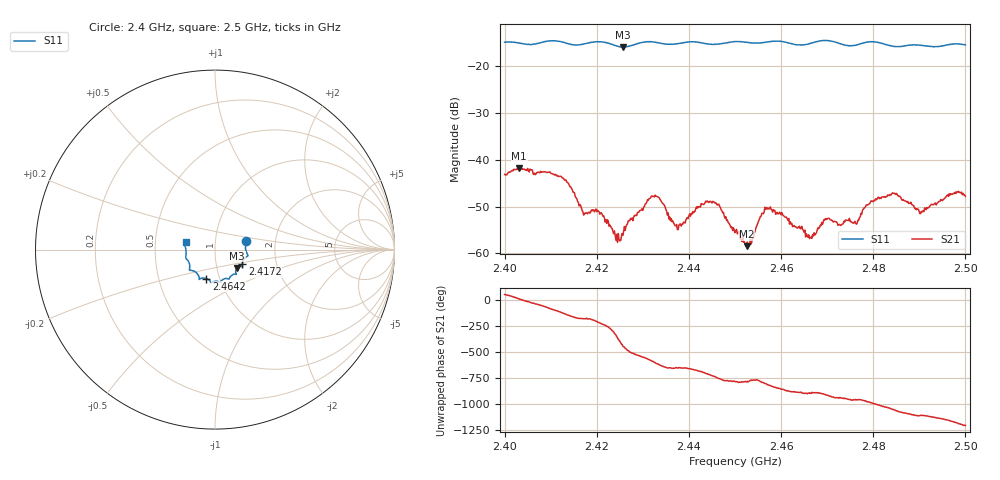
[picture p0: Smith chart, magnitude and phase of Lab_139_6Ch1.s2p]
# Hz S RI R 50
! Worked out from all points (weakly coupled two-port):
!   601 points, 2.4 GHz to 2.5 GHz, reference 50 ohm
!   highest |S21| = -41.80 dB at 2.4032 GHz (marker M1); lowest = -58.4 dB at 2.4525 GHz (marker M2)
!   lowest |S11| = -15.9 dB at 2.4257 GHz (marker M3), VSWR 1.38, Z = 62.5 - j13.1 ohm
!   |S11| at or under -10 dB: start of sweep to end of sweep
!   S12 and S22 are empty: the file has one direction only
!   S11 on the Smith chart (normalised r, x): 2.4 GHz: 1.41, +0.14; 2.4172 GHz: 1.34, -0.22; 2.4642 GHz: 0.86, -0.29; 2.5 GHz: 0.72, +0.06
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2.4e9  0.1734 0.0492  0.00465 0.00525  0 0  0 0
2.403167e9  0.1735 0.0329  0.00808 0.000874  0 0  0 0
2.412333e9  0.1782 -0.0379  -0.00374 -0.00546  0 0  0 0
2.416667e9  0.1529 -0.0747  -0.00306 -3.9e-05  0 0  0 0
2.417167e9  0.1522 -0.0805  -0.00256 0.000113  0 0  0 0
2.420333e9  0.1543 -0.0971  -0.00228 0.0017  0 0  0 0
2.424667e9  0.1308 -0.0963  0.00155 -0.000506  0 0  0 0
2.425667e9  0.1229 -0.1022  0.000135 -0.00156  0 0  0 0
2.4315e9  0.1189 -0.1385  -0.00316 0.00223  0 0  0 0
2.433333e9  0.1127 -0.1369  -0.000999 0.00389  0 0  0 0
2.437167e9  0.0865 -0.1497  0.000652 0.00187  0 0  0 0
2.445e9  0.0556 -0.1616  0.00344 -0.00041  0 0  0 0
2.45e9  0.0293 -0.1808  0.000761 -0.00149  0 0  0 0
2.4525e9  0.0204 -0.1785  0.000478 -0.0011  0 0  0 0
2.457e9  -0.0135 -0.1806  -8.58e-05 -0.00299  0 0  0 0
2.464167e9  -0.0478 -0.1613  -0.00177 -0.000471  0 0  0 0
2.466667e9  -0.0759 -0.1597  -0.00141 -0.000354  0 0  0 0
2.469833e9  -0.0878 -0.1662  -0.00226 0.000459  0 0  0 0
2.476e9  -0.1161 -0.1196  -0.00119 0.00186  0 0  0 0
2.483333e9  -0.1406 -0.0899  0.00288 0.003  0 0  0 0
2.4905e9  -0.1623 -0.0378  0.00243 -0.00122  0 0  0 0
2.5e9  -0.1635 0.0418  -0.00215 -0.00346  0 0  0 0
